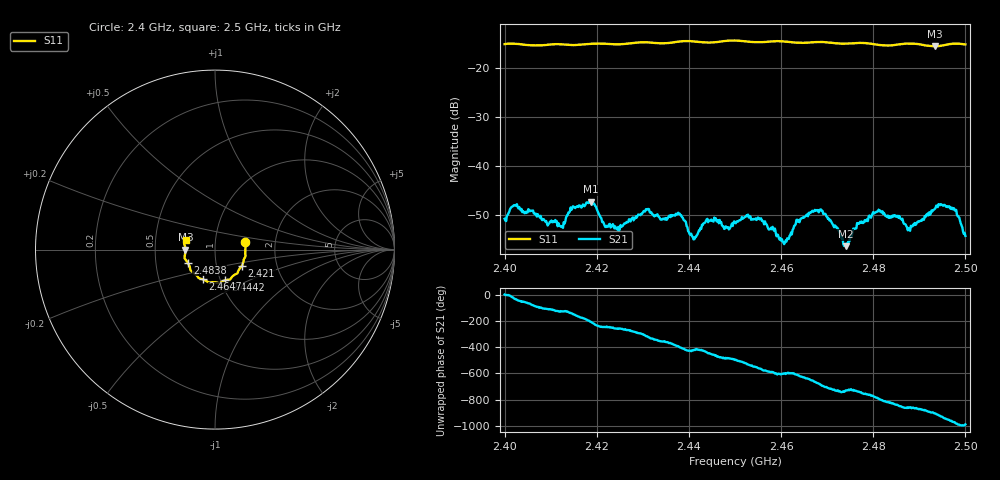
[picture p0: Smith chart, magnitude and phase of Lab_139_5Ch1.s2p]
# Hz S RI R 50
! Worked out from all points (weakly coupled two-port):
!   601 points, 2.4 GHz to 2.5 GHz, reference 50 ohm
!   highest |S21| = -47.28 dB at 2.4187 GHz (marker M1); lowest = -56.3 dB at 2.474 GHz (marker M2)
!   lowest |S11| = -15.7 dB at 2.4933 GHz (marker M3), VSWR 1.39, Z = 35.8 + j0.0171 ohm
!   |S11| at or under -10 dB: start of sweep to end of sweep
!   S12 and S22 are empty: the file has one direction only
!   S11 on the Smith chart (normalised r, x): 2.4 GHz: 1.40, +0.12; 2.421 GHz: 1.33, -0.25; 2.4442 GHz: 1.05, -0.37; 2.4647 GHz: 0.83, -0.28; 2.4838 GHz: 0.73, -0.11; 2.5 GHz: 0.71, +0.08
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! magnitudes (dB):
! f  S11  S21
! 2.4 GHz  -15.2  -50.7
! 2.4023 GHz  -15.1  -47.9
! 2.4123 GHz  -15.2  -52.2
! 2.4167 GHz  -15.3  -48.5
! 2.4187 GHz  -15.1  -47.3
! 2.421 GHz  -15.1  -50.6
! 2.4333 GHz  -15.0  -50.2
! 2.438 GHz  -14.7  -49.7
! 2.4412 GHz  -14.7  -54.9
! 2.4442 GHz  -14.9  -51.4
! 2.45 GHz  -14.5  -51.4
! 2.4555 GHz  -14.8  -50.7
! 2.4607 GHz  -14.7  -55.9
! 2.4647 GHz  -14.9  -50.5
! 2.4667 GHz  -14.8  -49.2
! 2.474 GHz  -15.1  -56.3
! 2.4833 GHz  -15.5  -50.5
! 2.4838 GHz  -15.5  -50.3
! 2.488 GHz  -15.1  -53.2
! 2.4933 GHz  -15.7  -48.8
! 2.4975 GHz  -15.1  -48.6
! 2.5 GHz  -15.3  -54.2
